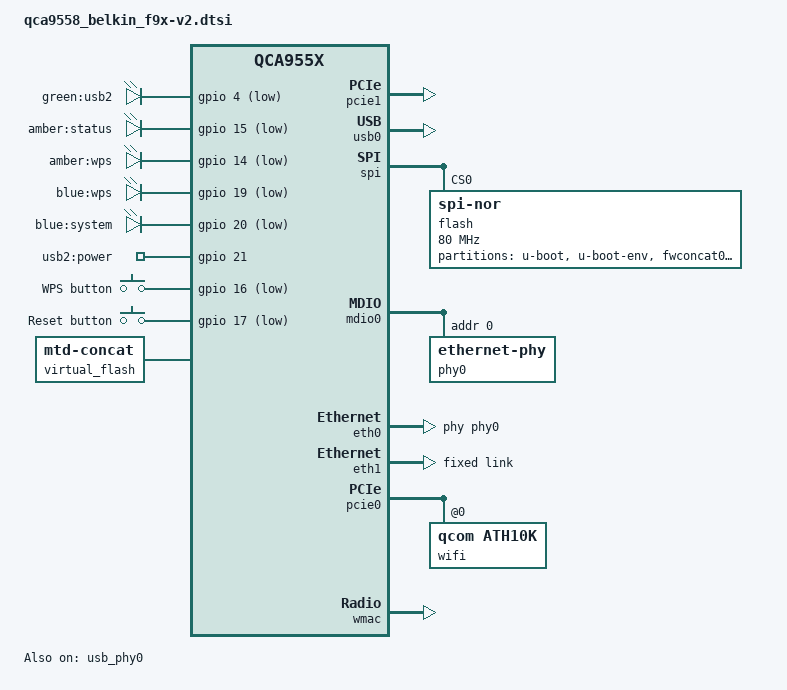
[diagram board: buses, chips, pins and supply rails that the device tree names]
// SPDX-License-Identifier: GPL-2.0-or-later OR MIT

#include "qca955x.dtsi"

#include <dt-bindings/gpio/gpio.h>
#include <dt-bindings/input/input.h>
#include <dt-bindings/mtd/partitions/uimage.h>

/ {
	aliases {
		led-boot = &led_system;
		led-failsafe = &led_system;
		led-running = &led_system;
		led-upgrade = &led_system;
		label-mac-device = &eth1;
	};

	leds {
		compatible = "gpio-leds";

		usb {
			label = "green:usb2";
			gpios = <&gpio 4 GPIO_ACTIVE_LOW>;
			trigger-sources = <&hub_port0>;
			linux,default-trigger = "usbport";
		};

		status {
			label = "amber:status";
			gpios = <&gpio 15 GPIO_ACTIVE_LOW>;
		};

		wps-amber {
			label = "amber:wps";
			gpios = <&gpio 14 GPIO_ACTIVE_LOW>;
		};

		wps-blue {
			label = "blue:wps";
			gpios = <&gpio 19 GPIO_ACTIVE_LOW>;
		};

		led_system: system {
			label = "blue:system";
			gpios = <&gpio 20 GPIO_ACTIVE_LOW>;
		};
	};

	gpio-export {
		compatible = "gpio-export";
		#size-cells = <0>;

		usb2_power {
			gpio-export,name = "usb2:power";
			gpio-export,output = <1>;
			gpios = <&gpio 21 GPIO_ACTIVE_HIGH>;
		};
	};

	keys {
		compatible = "gpio-keys";

		wps {
			label = "WPS button";
			linux,code = <KEY_WPS_BUTTON>;
			gpios = <&gpio 16 GPIO_ACTIVE_LOW>;
			debounce-interval = <60>;
		};

		reset {
			label = "Reset button";
			linux,code = <KEY_RESTART>;
			gpios = <&gpio 17 GPIO_ACTIVE_LOW>;
			debounce-interval = <60>;
		};
	};

	virtual_flash {
		compatible = "mtd-concat";

		devices = <&fwconcat0 &fwconcat1>;

		partitions {
			compatible = "fixed-partitions";
			#address-cells = <1>;
			#size-cells = <1>;

			partition@0 {
				compatible = "openwrt,uimage", "denx,uimage";
				openwrt,ih-magic = <IH_MAGIC_OKLI>;
				label = "firmware";
				reg = <0x0 0x0>;
			};
		};
	};
};

&pcie1 {
	status = "okay";
};

&usb_phy0 {
	status = "okay";
};

&usb0 {
	#address-cells = <1>;
	#size-cells = <0>;
	status = "okay";

	hub_port0: port@1 {
		reg = <1>;
		#trigger-source-cells = <0>;
	};
};

&spi {
	status = "okay";

	flash@0 {
		compatible = "jedec,spi-nor";
		reg = <0>;
		spi-max-frequency = <80000000>;
		m25p,fast-read;

		partitions {
			compatible = "fixed-partitions";
			#address-cells = <1>;
			#size-cells = <1>;

			uboot: partition@0 {
				label = "u-boot";
				reg = <0x000000 0x040000>;
				read-only;
			};

			partition@40000 {
				label = "u-boot-env";
				reg = <0x040000 0x010000>;
			};

			fwconcat0: partition@50000 {
				label = "fwconcat0";
				reg = <0x050000 0xe20000>;
			};

			partition@e70000 {
				label = "loader";
				reg = <0xe70000 0x10000>;
				read-only;
			};

			fwconcat1: partition@e80000 {
				label = "fwconcat1";
				reg = <0xe80000 0x170000>;
			};

			art: partition@ff0000 {
				label = "art";
				reg = <0xff0000 0x010000>;
			};
		};
	};
};

&mdio0 {
	status = "okay";

	phy0: ethernet-phy@0 {
		reg = <0>;

		qca,ar8327-initvals = <
			0x04 0x00080080 /* PORT0 PAD MODE CTRL */
			0x0c 0x07600000 /* PORT6 PAD MODE CTRL */
			0x50 0xc737c737 /* LED_CTRL0 */
			0x54 0x00000000 /* LED_CTRL1 */
			0x58 0x00000000 /* LED_CTRL2 */
			0x5c 0x0030c300 /* LED_CTRL3 */
			0x7c 0x0000007e /* PORT0_STATUS */
			0x94 0x0000007e /* PORT6 STATUS */
			>;
	};
};

&eth0 {
	status = "okay";

	nvmem-cells = <&macaddr_art_0>;
	nvmem-cell-names = "mac-address";
	phy-handle = <&phy0>;
	pll-data = <0xa6000000 0x00000101 0x00001616>;

	gmac-config {
		device = <&gmac>;
		rgmii-enabled = <1>;
	};
};

&eth1 {
	status = "okay";

	nvmem-cells = <&macaddr_art_0>;
	nvmem-cell-names = "mac-address";
	mac-address-increment = <(-1)>;
	pll-data = <0x03000101 0x00000101 0x00001616>;

	fixed-link {
		speed = <1000>;
		full-duplex;
	};
};

&pcie0 {
	status = "okay";

	wifi@0,0 {
		compatible = "qcom,ath10k";
		reg = <0 0 0 0 0>;
	};
};

&wmac {
	status = "okay";

	mtd-cal-data = <&art 0x1000>;
};

&art {
	compatible = "nvmem-cells";
	#address-cells = <1>;
	#size-cells = <1>;

	macaddr_art_0: macaddr@0 {
		reg = <0x0 0x6>;
	};
};
